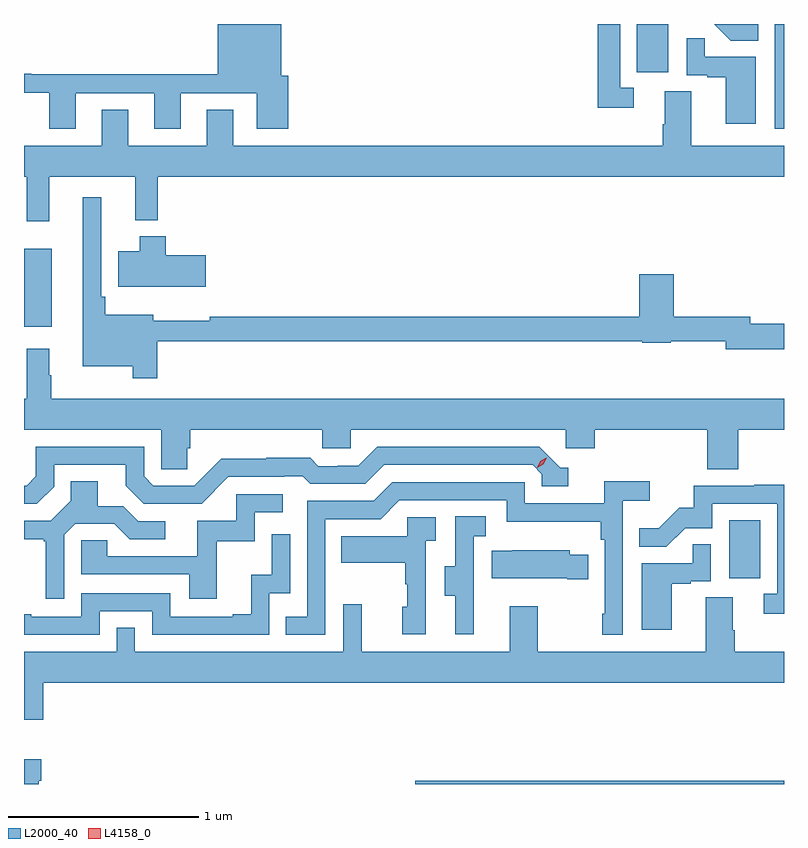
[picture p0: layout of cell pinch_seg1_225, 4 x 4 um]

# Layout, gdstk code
import gdstk
lib = gdstk.Library(unit=1e-6, precision=1e-09)
def R(c, l, rs):  # rectangles x0, y0, x1, y1
    for r in rs: c.add(gdstk.rectangle(r[:2], r[2:], *l))
def P(c, l, *ps):  # polygons
    for p in ps: c.add(gdstk.Polygon(p, *l))
L2000_40 = (2000, 40)
L4158_0 = (4158, 0)

pinch_seg1_225 = lib.new_cell('pinch_seg1_225')
R(pinch_seg1_225, L2000_40, [(976.007,563.188,977.948,563.204), (977.66,564.27,977.824,564.577), (973.948,565.595,974.095,566.005), (977.898,566.637,977.948,567.188), (977.174,566.934,977.338,567.188)])
P(pinch_seg1_225, L2000_40, [(977.813,567.188),(977.581,567.188),(977.669,567.1),(977.813,567.1)],
  [(977.158,566.853),(977.085,566.853),(977.085,567.188),(976.969,567.188),(976.969,566.748),(977.158,566.748)],
  [(974.221,566.823),(974.633,566.823),(974.633,566.637),(974.773,566.637),(974.773,566.823),(975.173,566.823),(975.173,566.637),(975.338,566.637),(975.338,566.916),(975.301,566.916),(975.301,567.188),(974.969,567.188),(974.969,566.924),(973.985,566.924),(973.985,566.927),(973.948,566.927),(973.948,566.826),(974.081,566.826),(974.081,566.637),(974.221,566.637)],
  [(977.8,567.015),(977.531,567.015),(977.531,567.113),(977.436,567.113),(977.436,566.919),(977.543,566.919),(977.543,566.907),(977.642,566.907),(977.642,566.664),(977.8,566.664)],
  [(974.081,566.384),(974.534,566.384),(974.534,566.156),(974.651,566.156),(974.651,566.384),(977.948,566.384),(977.948,566.548),(977.461,566.548),(977.461,566.834),(977.321,566.834),(977.321,566.66),(977.309,566.66),(977.309,566.548),(975.049,566.548),(975.049,566.738),(974.909,566.738),(974.909,566.548),(974.497,566.548),(974.497,566.738),(974.357,566.738),(974.357,566.548),(973.948,566.548),(973.948,566.384),(973.963,566.384),(973.963,566.151),(974.081,566.151)],
  [(974.648,565.518),(977.202,565.518),(977.202,565.51),(977.352,565.51),(977.352,565.518),(977.642,565.518),(977.642,565.475),(977.948,565.475),(977.948,565.61),(977.77,565.61),(977.77,565.646),(977.369,565.646),(977.369,565.87),(977.186,565.87),(977.186,565.646),(974.925,565.646),(974.925,565.627),(974.629,565.627),(974.629,565.657),(974.375,565.657),(974.375,565.753),(974.355,565.753),(974.355,566.275),(974.258,566.275),(974.258,565.388),(974.52,565.388),(974.52,565.323),(974.648,565.323)],
  [(974.905,565.971),(974.693,565.971),(974.693,566.071),(974.558,566.071),(974.558,565.993),(974.444,565.993),(974.444,565.805),(974.905,565.805)],
  [(974.807,564.954),(974.822,564.954),(974.822,565.052),(975.519,565.052),(975.519,564.954),(975.669,564.954),(975.669,565.052),(976.8,565.052),(976.8,564.954),(976.952,564.954),(976.952,565.052),(977.543,565.052),(977.543,564.844),(977.708,564.844),(977.708,565.052),(977.948,565.052),(977.948,565.216),(974.092,565.216),(974.092,565.34),(974.08,565.34),(974.08,565.48),(973.963,565.48),(973.963,565.216),(973.948,565.216),(973.948,565.052),(974.67,565.052),(974.67,564.844),(974.807,564.844)],
  [(974.106,564.753),(974.106,564.867),(974.483,564.867),(974.483,564.757),(974.577,564.663),(974.883,564.663),(975.024,564.804),(975.317,564.804),(975.317,564.807),(975.416,564.807),(975.455,564.768),(975.744,564.768),(975.843,564.867),(976.626,564.867),(976.674,564.819),(976.674,564.756),(976.813,564.756),(976.813,564.852),(976.77,564.852),(976.659,564.963),(975.806,564.963),(975.707,564.864),(975.6,564.864),(975.6,564.861),(975.497,564.861),(975.455,564.904),(975.222,564.904),(975.222,564.901),(974.986,564.901),(974.844,564.759),(974.628,564.759),(974.58,564.807),(974.58,564.963),(974.01,564.963),(974.01,564.807),(973.962,564.759),(973.948,564.759),(973.948,564.663),(974.016,564.663)],
  [(974.16,564.501),(974.217,564.558),(974.423,564.558),(974.504,564.477),(974.692,564.477),(974.692,564.57),(974.55,564.57),(974.47,564.65),(974.335,564.65),(974.335,564.782),(974.195,564.782),(974.195,564.68),(974.088,564.573),(973.948,564.573),(973.948,564.476),(974.052,564.476),(974.052,564.465),(974.063,564.465),(974.063,564.162),(974.16,564.162)],
  [(975.534,564.582),(975.825,564.582),(975.924,564.681),(976.488,564.681),(976.488,564.569),(976.984,564.569),(976.984,564.473),(977.004,564.473),(977.004,564.085),(976.992,564.085),(976.992,563.973),(977.1,563.973),(977.1,564.68),(977.242,564.68),(977.242,564.782),(977.003,564.782),(977.003,564.666),(976.584,564.666),(976.584,564.777),(975.887,564.777),(975.788,564.678),(975.438,564.678),(975.438,564.069),(975.325,564.069),(975.325,563.973),(975.534,563.973)],
  [(977.948,564.764),(977.791,564.764),(977.791,564.759),(977.473,564.759),(977.473,564.642),(977.396,564.642),(977.289,564.535),(977.185,564.535),(977.185,564.436),(977.329,564.436),(977.427,564.534),(977.571,564.534),(977.571,564.663),(977.913,564.663),(977.913,564.189),(977.841,564.189),(977.841,564.084),(977.948,564.084)],
  [(974.963,564.465),(975.162,564.465),(975.162,564.618),(975.31,564.618),(975.31,564.714),(975.066,564.714),(975.066,564.573),(974.861,564.573),(974.861,564.387),(974.387,564.387),(974.387,564.471),(974.25,564.471),(974.25,564.291),(974.819,564.291),(974.819,564.162),(974.963,564.162)],
  [(976.316,564.189),(976.314,564.189),(976.314,564.493),(976.378,564.493),(976.378,564.596),(976.218,564.596),(976.218,564.333),(976.163,564.333),(976.163,564.178),(976.217,564.178),(976.217,563.976),(976.316,563.976)],
  [(976.062,564.467),(976.114,564.467),(976.114,564.591),(975.966,564.591),(975.966,564.493),(975.619,564.493),(975.619,564.353),(975.954,564.353),(975.954,564.239),(975.964,564.239),(975.964,564.12),(975.938,564.12),(975.938,563.976),(976.062,563.976)],
  [(974.346,564.096),(974.622,564.096),(974.622,563.973),(975.24,563.973),(975.24,564.192),(975.348,564.192),(975.348,564.502),(975.252,564.502),(975.252,564.29),(975.143,564.29),(975.143,564.082),(975.047,564.082),(975.047,564.069),(974.718,564.069),(974.718,564.192),(974.25,564.192),(974.25,564.069),(973.987,564.069),(973.987,564.082),(973.948,564.082),(973.948,563.973),(974.346,563.973)],
  [(977.356,564.243),(977.456,564.243),(977.456,564.255),(977.562,564.255),(977.562,564.449),(977.467,564.449),(977.467,564.351),(977.198,564.351),(977.198,564),(977.356,564)],
  [(976.919,564.394),(976.821,564.394),(976.821,564.418),(976.519,564.418),(976.519,564.415),(976.411,564.415),(976.411,564.272),(976.808,564.272),(976.808,564.265),(976.919,564.265)],
  [(974.048,563.72),(977.948,563.72),(977.948,563.884),(977.69,563.884),(977.69,563.996),(977.677,563.996),(977.677,564.17),(977.537,564.17),(977.537,563.884),(976.653,563.884),(976.653,564.124),(976.505,564.124),(976.505,563.884),(975.725,563.884),(975.725,564.133),(975.627,564.133),(975.627,563.884),(974.532,563.884),(974.532,564.011),(974.436,564.011),(974.436,563.884),(973.948,563.884),(973.948,563.526),(974.048,563.526)],
  [(974.026,563.204),(974.039,563.204),(974.039,563.317),(973.948,563.317),(973.948,563.188),(974.026,563.188)])
P(pinch_seg1_225, L4158_0, [(976.65,564.853),(976.65,564.853),(976.666,564.886),(976.697,564.905),(976.698,564.905),(976.698,564.904),(976.681,564.872),(976.65,564.853)])

lib.write_gds('pinch_seg1_225.gds')
